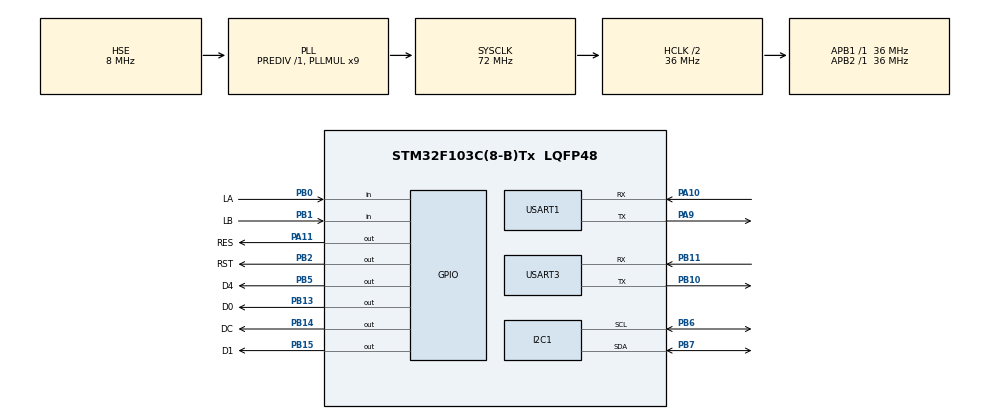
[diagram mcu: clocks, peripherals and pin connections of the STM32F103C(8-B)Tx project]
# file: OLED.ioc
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Dma.MEMTOMEM.4.Direction=DMA_MEMORY_TO_MEMORY
Dma.MEMTOMEM.4.Instance=DMA1_Channel1
Dma.MEMTOMEM.4.MemDataAlignment=DMA_MDATAALIGN_BYTE
Dma.MEMTOMEM.4.MemInc=DMA_MINC_ENABLE
Dma.MEMTOMEM.4.Mode=DMA_NORMAL
Dma.MEMTOMEM.4.PeriphDataAlignment=DMA_PDATAALIGN_BYTE
Dma.MEMTOMEM.4.PeriphInc=DMA_PINC_ENABLE
Dma.MEMTOMEM.4.Priority=DMA_PRIORITY_MEDIUM
Dma.Request0=USART1_RX
Dma.Request1=USART1_TX
Dma.Request2=USART3_RX
Dma.Request3=USART3_TX
Dma.Request4=MEMTOMEM
Dma.USART1_RX.0.Direction=DMA_PERIPH_TO_MEMORY
Dma.USART1_RX.0.Instance=DMA1_Channel5
Dma.USART1_RX.0.MemDataAlignment=DMA_MDATAALIGN_BYTE
Dma.USART1_RX.0.MemInc=DMA_MINC_ENABLE
Dma.USART1_RX.0.Mode=DMA_NORMAL
Dma.USART1_RX.0.PeriphDataAlignment=DMA_PDATAALIGN_BYTE
Dma.USART1_RX.0.PeriphInc=DMA_PINC_DISABLE
Dma.USART1_RX.0.Priority=DMA_PRIORITY_MEDIUM
Dma.USART1_TX.1.Direction=DMA_MEMORY_TO_PERIPH
Dma.USART1_TX.1.Instance=DMA1_Channel4
Dma.USART1_TX.1.MemDataAlignment=DMA_MDATAALIGN_BYTE
Dma.USART1_TX.1.MemInc=DMA_MINC_ENABLE
Dma.USART1_TX.1.Mode=DMA_NORMAL
Dma.USART1_TX.1.PeriphDataAlignment=DMA_PDATAALIGN_BYTE
Dma.USART1_TX.1.PeriphInc=DMA_PINC_DISABLE
Dma.USART1_TX.1.Priority=DMA_PRIORITY_MEDIUM
Dma.USART3_RX.2.Direction=DMA_PERIPH_TO_MEMORY
Dma.USART3_RX.2.Instance=DMA1_Channel3
Dma.USART3_RX.2.MemDataAlignment=DMA_MDATAALIGN_BYTE
Dma.USART3_RX.2.MemInc=DMA_MINC_ENABLE
Dma.USART3_RX.2.Mode=DMA_NORMAL
Dma.USART3_RX.2.PeriphDataAlignment=DMA_PDATAALIGN_BYTE
Dma.USART3_RX.2.PeriphInc=DMA_PINC_DISABLE
Dma.USART3_RX.2.Priority=DMA_PRIORITY_MEDIUM
Dma.USART3_TX.3.Direction=DMA_MEMORY_TO_PERIPH
Dma.USART3_TX.3.Instance=DMA1_Channel2
Dma.USART3_TX.3.MemDataAlignment=DMA_MDATAALIGN_BYTE
Dma.USART3_TX.3.MemInc=DMA_MINC_ENABLE
Dma.USART3_TX.3.Mode=DMA_NORMAL
Dma.USART3_TX.3.PeriphDataAlignment=DMA_PDATAALIGN_BYTE
Dma.USART3_TX.3.PeriphInc=DMA_PINC_DISABLE
Dma.USART3_TX.3.Priority=DMA_PRIORITY_MEDIUM
Mcu.Family=STM32F1
Mcu.Name=STM32F103C(8-B)Tx
Mcu.Package=LQFP48
NVIC.DMA1_Channel1_IRQn=true\:1\:1\:true\:false\:true\:true\:true
NVIC.DMA1_Channel2_IRQn=true\:0\:2\:false\:false\:true\:false\:true
NVIC.DMA1_Channel3_IRQn=true\:0\:1\:false\:false\:true\:false\:true
NVIC.DMA1_Channel4_IRQn=true\:1\:0\:true\:false\:true\:false\:true
NVIC.DMA1_Channel5_IRQn=true\:0\:3\:false\:false\:true\:false\:true
NVIC.PriorityGroup=NVIC_PRIORITYGROUP_2
NVIC.USART1_IRQn=true\:0\:1\:false\:false\:true\:true\:true
NVIC.USART3_IRQn=true\:0\:0\:false\:false\:true\:true\:true
PA10.Mode=Asynchronous
PA10.Signal=USART1_RX
PA11.GPIO_Label=RES
PA11.GPIO_PuPd=GPIO_PULLUP
PA11.GPIO_Speed=GPIO_SPEED_FREQ_HIGH
PA11.PinState=GPIO_PIN_SET
PA11.Signal=GPIO_Output
PA9.Mode=Asynchronous
PA9.Signal=USART1_TX
PB0.GPIO_Label=LA
PB0.GPIO_PuPd=GPIO_PULLUP
PB0.Signal=GPIO_Input
PB1.GPIO_Label=LB
PB1.GPIO_PuPd=GPIO_PULLUP
PB1.Signal=GPIO_Input
PB10.Mode=Asynchronous
PB10.Signal=USART3_TX
PB11.Mode=Asynchronous
PB11.Signal=USART3_RX
PB13.GPIO_Label=D0
PB13.GPIO_PuPd=GPIO_PULLUP
PB13.GPIO_Speed=GPIO_SPEED_FREQ_HIGH
PB13.PinState=GPIO_PIN_SET
PB13.Signal=GPIO_Output
PB14.GPIO_Label=DC
PB14.GPIO_PuPd=GPIO_PULLUP
PB14.GPIO_Speed=GPIO_SPEED_FREQ_HIGH
PB14.PinState=GPIO_PIN_SET
PB14.Signal=GPIO_Output
PB15.GPIO_Label=D1
PB15.GPIO_PuPd=GPIO_PULLUP
PB15.GPIO_Speed=GPIO_SPEED_FREQ_HIGH
PB15.PinState=GPIO_PIN_SET
PB15.Signal=GPIO_Output
PB2.GPIO_Label=RST
PB2.GPIO_Speed=GPIO_SPEED_FREQ_HIGH
PB2.Signal=GPIO_Output
PB5.GPIO_Label=D4
PB5.GPIO_Speed=GPIO_SPEED_FREQ_HIGH
PB5.PinState=GPIO_PIN_SET
PB5.Signal=GPIO_Output
PB6.Mode=I2C
PB6.Signal=I2C1_SCL
PB7.Mode=I2C
PB7.Signal=I2C1_SDA
PD0-OSC_IN.Mode=HSE-External-Oscillator
PD0-OSC_IN.Signal=RCC_OSC_IN
PD1-OSC_OUT.Mode=HSE-External-Oscillator
PD1-OSC_OUT.Signal=RCC_OSC_OUT
ProjectManager.HeapSize=0x200
ProjectManager.StackSize=0x400
ProjectManager.TargetToolchain=MDK-ARM V5.27
RCC.AHBCLKDivider=RCC_SYSCLK_DIV2
RCC.AHBFreq_Value=36000000
RCC.APB1Freq_Value=36000000
RCC.APB1TimFreq_Value=36000000
RCC.APB2Freq_Value=36000000
RCC.APB2TimFreq_Value=36000000
RCC.HCLKFreq_Value=36000000
RCC.PLLMUL=RCC_PLL_MUL9
RCC.PLLSourceVirtual=RCC_PLLSOURCE_HSE
RCC.SYSCLKFreq_VALUE=72000000
RCC.SYSCLKSource=RCC_SYSCLKSOURCE_PLLCLK
RCC.USBFreq_Value=72000000
USART1.VirtualMode=VM_ASYNC
USART3.VirtualMode=VM_ASYNC
VP_SYS_VS_ND.Mode=No_Debug
board=custom

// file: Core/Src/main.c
/* USER CODE BEGIN Header */
/**
  ******************************************************************************
  * @file           : main.c
  * @brief          : Main program body
  ******************************************************************************
  * @attention
  *
  * Copyright (c) 2022 STMicroelectronics.
  * All rights reserved.
  *
  * This software is licensed under terms that can be found in the LICENSE file
  * in the root directory of this software component.
  * If no LICENSE file comes with this software, it is provided AS-IS.
  *
  ******************************************************************************
  */
/* USER CODE END Header */
#include "main.h"
#include "dma.h"
#include "i2c.h"
#include "usart.h"
#include "gpio.h"

/* USER CODE BEGIN Includes */
#include "ath10.h"
#include "oled.h"
#include "cat1.h"
#include <string.h>
#include "mqtt.h"
/* USER CODE END Includes */

/* USER CODE BEGIN PV */
double temp,humi;
/* USER CODE END PV */

void SystemClock_Config(void);

int main(void)
{

  /* MCU Configuration--------------------------------------------------------*/

  /* Reset of all peripherals, Initializes the Flash interface and the Systick. */
  HAL_Init();

  /* Configure the system clock */
  SystemClock_Config();

  /* Initialize all configured peripherals */
  MX_GPIO_Init();
  MX_DMA_Init();
  MX_I2C1_Init();
  MX_USART1_UART_Init();
  MX_USART3_UART_Init();
  /* USER CODE BEGIN 2 */
  HAL_UART_Receive_IT(&huart3, (uint8_t *)&u3_rx, 1);
  OLED_Init();
  if (AHT10_Init())
  { //初始化AHT10
    while (1)
    {
      printf("AHT10��ʼ��ʧ��\r\n"); //串口输出数据
      HAL_Delay(500);                      //延时
    }
  }
  else
    printf("AHT10��ʼ���ɹ�\r\n\r\n"); //串口输出数据
  IoT_Parameter_Init();
  /* USER CODE END 2 */

  /* Infinite loop */
  while (1)
  {

    /* USER CODE BEGIN 3 */
    HAL_Delay(1200);
    AHT10_Data(&temp, &humi);        //比较校验值，成功，进入if
    printf("�¶�:%.2f��    ", temp);   //串口输出数据
    printf("ʪ��:%.2f%%\r\n", humi); //串口输出数据
    HAL_Delay(1000);
    OLED_display_pic();  //显示图片
    HAL_Delay(1000);     //延时1�?
    OLED_display_info(); //显示信息
    // CAT1_Reset(30);
    // HAL_Delay(1000);
    // CAT1_ExitTrans(30);
    // HAL_Delay(1000);
    // CAT1_CSQ(30);
    // HAL_Delay(1000);
    // CAT1_SYSINFO(30);
    // HAL_Delay(1000);
    // CAT1_LBSN(30);
    // HAL_Delay(1000);
    CAT1_Connect_IoTServer(30);
  }
  /* USER CODE END 3 */
}

void SystemClock_Config(void)
{
  RCC_OscInitTypeDef RCC_OscInitStruct = {0};
  RCC_ClkInitTypeDef RCC_ClkInitStruct = {0};

  /** Initializes the RCC Oscillators according to the specified parameters
  * in the RCC_OscInitTypeDef structure.
  */
  RCC_OscInitStruct.OscillatorType = RCC_OSCILLATORTYPE_HSE;
  RCC_OscInitStruct.HSEState = RCC_HSE_ON;
  RCC_OscInitStruct.HSEPredivValue = RCC_HSE_PREDIV_DIV1;
  RCC_OscInitStruct.HSIState = RCC_HSI_ON;
  RCC_OscInitStruct.PLL.PLLState = RCC_PLL_ON;
  RCC_OscInitStruct.PLL.PLLSource = RCC_PLLSOURCE_HSE;
  RCC_OscInitStruct.PLL.PLLMUL = RCC_PLL_MUL9;
  if (HAL_RCC_OscConfig(&RCC_OscInitStruct) != HAL_OK)
  {
    Error_Handler();
  }
  /** Initializes the CPU, AHB and APB buses clocks
  */
  RCC_ClkInitStruct.ClockType = RCC_CLOCKTYPE_HCLK|RCC_CLOCKTYPE_SYSCLK
                              |RCC_CLOCKTYPE_PCLK1|RCC_CLOCKTYPE_PCLK2;
  RCC_ClkInitStruct.SYSCLKSource = RCC_SYSCLKSOURCE_PLLCLK;
  RCC_ClkInitStruct.AHBCLKDivider = RCC_SYSCLK_DIV2;
  RCC_ClkInitStruct.APB1CLKDivider = RCC_HCLK_DIV1;
  RCC_ClkInitStruct.APB2CLKDivider = RCC_HCLK_DIV1;

  if (HAL_RCC_ClockConfig(&RCC_ClkInitStruct, FLASH_LATENCY_2) != HAL_OK)
  {
    Error_Handler();
  }
}

void Error_Handler(void)
{
  __disable_irq();
  while (1)
  {
  }
}
